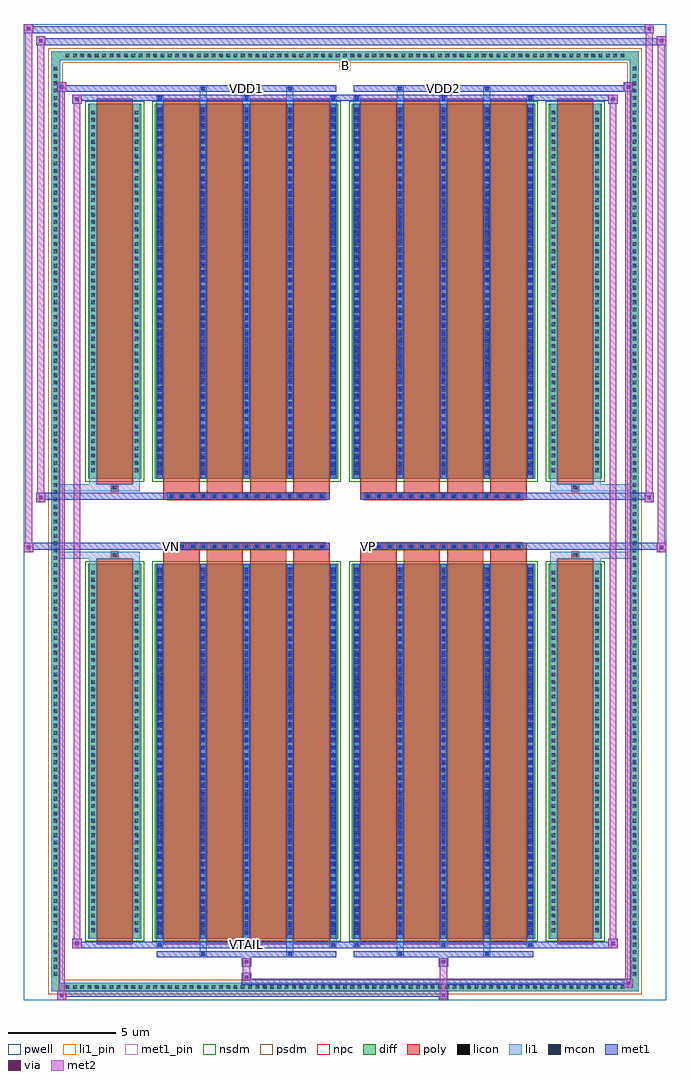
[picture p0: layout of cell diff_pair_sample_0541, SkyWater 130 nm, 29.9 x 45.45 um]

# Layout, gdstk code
import gdstk
lib = gdstk.Library(unit=1e-6, precision=5e-09)
def R(c, l, rs):  # rectangles x0, y0, x1, y1
    for r in rs: c.add(gdstk.rectangle(r[:2], r[2:], *l))
def A(c, l, x, y, w, h, nx, ny, dx, dy):  # array of equal rectangles
    R(c, l, [(x+i*dx, y+j*dy, x+i*dx+w, y+j*dy+h) for i in range(nx) for j in range(ny)])
def P(c, l, *ps):  # polygons
    for p in ps: c.add(gdstk.Polygon(p, *l))
pwell = (64, 44)
diff = (65, 20)
poly = (66, 20)
licon = (66, 44)
li1_pin = (67, 16)
li1 = (67, 20)
mcon = (67, 44)
met1_pin = (68, 16)
met1 = (68, 20)
via = (68, 44)
met2 = (69, 20)
nsdm = (93, 44)
psdm = (94, 20)
npc = (95, 20)

diff_pair_sample_0541 = lib.new_cell('diff_pair_sample_0541')
R(diff_pair_sample_0541, pwell, [(-14.95,-22.29,14.95,23.16), (-12.27,-20.48,-0.01,-0.8), (0.01,-20.48,12.27,-0.8), (-12.27,0.8,-0.01,20.48), (0.01,0.8,12.27,20.48)])
A(diff_pair_sample_0541, diff, -13.125, -21.89, 0.41, 0.41, 77, 2, 0.34, 43.37)
A(diff_pair_sample_0541, diff, -13.68, -21.285, 0.41, 0.41, 1, 125, 0, 0.34)
A(diff_pair_sample_0541, diff, 13.27, -21.285, 0.41, 0.41, 1, 125, 0, 0.34)
R(diff_pair_sample_0541, diff, [(-13.125,-21.89,13.125,-21.48), (-13.68,-21.285,-13.27,21.285), (13.27,-21.285,13.68,21.285), (-11.96,-19.435,-9.49,-1.985), (-8.85,-19.435,-0.32,-1.985), (0.32,-19.435,8.85,-1.985), (9.49,-19.435,11.96,-1.985), (-11.96,1.985,-9.49,19.435), (-8.85,1.985,-0.32,19.435), (0.32,1.985,8.85,19.435), (9.49,1.985,11.96,19.435), (-13.125,21.48,13.125,21.89)])
P(diff_pair_sample_0541, diff, [(13.68,21.89),(-13.68,21.89),(-13.68,-21.48),(-13.27,-21.48),(-13.27,21.48),(13.27,21.48),(13.27,-21.48),(-13.27,-21.48),(-13.68,-21.48),(-13.68,-21.89),(13.68,-21.89)])
A(diff_pair_sample_0541, poly, -8.46, -19.685, 1.69, 17.95, 4, 2, 2.02, 21.42)
A(diff_pair_sample_0541, poly, 0.71, -19.685, 1.69, 17.95, 4, 2, 2.02, 21.42)
A(diff_pair_sample_0541, poly, -8.46, -1.735, 1.69, 0.405, 4, 2, 2.02, 3.065)
A(diff_pair_sample_0541, poly, 0.71, -1.735, 1.69, 0.405, 4, 2, 2.02, 3.065)
A(diff_pair_sample_0541, poly, -8.25, -1.33, 0.33, 0.33, 15, 2, 0.5, 2.33)
A(diff_pair_sample_0541, poly, 0.92, -1.33, 0.33, 0.33, 15, 2, 0.5, 2.33)
R(diff_pair_sample_0541, poly, [(-11.57,-19.685,-9.88,-1.735), (9.88,-19.685,11.57,-1.735), (-10.89,-1.735,-10.56,-1.405), (-10.89,-1.735,-10.56,-1.405), (10.56,-1.735,10.89,-1.405), (10.56,-1.735,10.89,-1.405), (-8.46,-1.33,-0.71,-1), (0.71,-1.33,8.46,-1), (-8.46,1,-0.71,1.33), (0.71,1,8.46,1.33), (-10.89,1.405,-10.56,1.735), (-10.89,1.405,-10.56,1.735), (10.56,1.405,10.89,1.735), (10.56,1.405,10.89,1.735), (-11.57,1.735,-9.88,19.685), (9.88,1.735,11.57,19.685)])
A(diff_pair_sample_0541, licon, -13.005, -21.77, 0.17, 0.17, 77, 2, 0.34, 43.37)
A(diff_pair_sample_0541, licon, -13.56, -21.165, 0.17, 0.17, 1, 125, 0, 0.34)
A(diff_pair_sample_0541, licon, 13.39, -21.165, 0.17, 0.17, 1, 125, 0, 0.34)
A(diff_pair_sample_0541, licon, -11.82, -19.125, 0.17, 0.17, 1, 50, 0, 0.34)
A(diff_pair_sample_0541, licon, -9.8, -19.125, 0.17, 0.17, 1, 50, 0, 0.34)
A(diff_pair_sample_0541, licon, -8.71, -19.125, 0.17, 0.17, 5, 50, 2.02, 0.34)
A(diff_pair_sample_0541, licon, 0.46, -19.125, 0.17, 0.17, 5, 50, 2.02, 0.34)
A(diff_pair_sample_0541, licon, 9.63, -19.125, 0.17, 0.17, 1, 50, 0, 0.34)
A(diff_pair_sample_0541, licon, 11.65, -19.125, 0.17, 0.17, 1, 50, 0, 0.34)
A(diff_pair_sample_0541, licon, -8.17, -1.25, 0.17, 0.17, 15, 2, 0.5, 2.33)
A(diff_pair_sample_0541, licon, 1, -1.25, 0.17, 0.17, 15, 2, 0.5, 2.33)
A(diff_pair_sample_0541, licon, -11.82, 2.295, 0.17, 0.17, 1, 50, 0, 0.34)
A(diff_pair_sample_0541, licon, -9.8, 2.295, 0.17, 0.17, 1, 50, 0, 0.34)
A(diff_pair_sample_0541, licon, -8.71, 2.295, 0.17, 0.17, 5, 50, 2.02, 0.34)
A(diff_pair_sample_0541, licon, 0.46, 2.295, 0.17, 0.17, 5, 50, 2.02, 0.34)
A(diff_pair_sample_0541, licon, 9.63, 2.295, 0.17, 0.17, 1, 50, 0, 0.34)
A(diff_pair_sample_0541, licon, 11.65, 2.295, 0.17, 0.17, 1, 50, 0, 0.34)
R(diff_pair_sample_0541, licon, [(-10.81,-1.655,-10.64,-1.485), (10.64,-1.655,10.81,-1.485), (-10.81,1.485,-10.64,1.655), (10.64,1.485,10.81,1.655)])
R(diff_pair_sample_0541, li1_pin, [(-0.25,20.98,0.25,21.48)])
A(diff_pair_sample_0541, li1, -13.085, -21.85, 0.33, 0.33, 77, 2, 0.34, 43.37)
A(diff_pair_sample_0541, li1, -13.64, -21.245, 0.33, 0.33, 1, 125, 0, 0.34)
A(diff_pair_sample_0541, li1, 13.31, -21.245, 0.33, 0.33, 1, 125, 0, 0.34)
A(diff_pair_sample_0541, li1, -8.79, -19.81, 0.33, 0.375, 3, 2, 4.04, 39.245)
A(diff_pair_sample_0541, li1, -8.71, -19.81, 0.17, 0.17, 3, 2, 4.04, 39.45)
A(diff_pair_sample_0541, li1, 0.38, -19.81, 0.33, 0.375, 3, 2, 4.04, 39.245)
A(diff_pair_sample_0541, li1, 0.46, -19.81, 0.17, 0.17, 3, 2, 4.04, 39.45)
A(diff_pair_sample_0541, li1, -8.79, -19.435, 0.33, 17.45, 5, 2, 2.02, 21.42)
A(diff_pair_sample_0541, li1, 0.38, -19.435, 0.33, 17.45, 5, 2, 2.02, 21.42)
A(diff_pair_sample_0541, li1, -8.71, -19.255, 0.17, 0.17, 5, 48, 2.02, 0.36)
A(diff_pair_sample_0541, li1, -8.71, -19.255, 0.17, 17.09, 5, 2, 2.02, 21.42)
A(diff_pair_sample_0541, li1, 0.46, -19.255, 0.17, 0.17, 5, 48, 2.02, 0.36)
A(diff_pair_sample_0541, li1, 0.46, -19.255, 0.17, 17.09, 5, 2, 2.02, 21.42)
A(diff_pair_sample_0541, li1, -11.9, -19.205, 0.33, 0.33, 1, 50, 0, 0.34)
A(diff_pair_sample_0541, li1, -9.88, -19.205, 0.33, 0.33, 1, 50, 0, 0.34)
A(diff_pair_sample_0541, li1, -8.79, -19.205, 0.33, 0.33, 5, 50, 2.02, 0.34)
A(diff_pair_sample_0541, li1, 0.38, -19.205, 0.33, 0.33, 5, 50, 2.02, 0.34)
A(diff_pair_sample_0541, li1, 9.55, -19.205, 0.33, 0.33, 1, 50, 0, 0.34)
A(diff_pair_sample_0541, li1, 11.57, -19.205, 0.33, 0.33, 1, 50, 0, 0.34)
A(diff_pair_sample_0541, li1, -8.25, -1.33, 0.33, 0.33, 15, 2, 0.5, 2.33)
A(diff_pair_sample_0541, li1, 0.92, -1.33, 0.33, 0.33, 15, 2, 0.5, 2.33)
A(diff_pair_sample_0541, li1, -8.71, 2.165, 0.17, 0.17, 5, 48, 2.02, 0.36)
A(diff_pair_sample_0541, li1, 0.46, 2.165, 0.17, 0.17, 5, 48, 2.02, 0.36)
A(diff_pair_sample_0541, li1, -11.9, 2.215, 0.33, 0.33, 1, 50, 0, 0.34)
A(diff_pair_sample_0541, li1, -9.88, 2.215, 0.33, 0.33, 1, 50, 0, 0.34)
A(diff_pair_sample_0541, li1, -8.79, 2.215, 0.33, 0.33, 5, 50, 2.02, 0.34)
A(diff_pair_sample_0541, li1, 0.38, 2.215, 0.33, 0.33, 5, 50, 2.02, 0.34)
A(diff_pair_sample_0541, li1, 9.55, 2.215, 0.33, 0.33, 1, 50, 0, 0.34)
A(diff_pair_sample_0541, li1, 11.57, 2.215, 0.33, 0.33, 1, 50, 0, 0.34)
R(diff_pair_sample_0541, li1, [(-13.68,-21.89,-13.27,-21.48), (-13.68,-21.89,-13.27,-21.48), (-13.27,-21.89,13.27,-21.48), (13.27,-21.89,13.68,-21.48), (13.27,-21.89,13.68,-21.48), (-13.68,-21.48,-13.27,21.48), (13.27,-21.48,13.68,21.48), (-6.77,-20.24,-6.44,-19.435), (-6.69,-20.24,-6.52,-20.07), (-2.73,-20.24,-2.4,-19.435), (-2.65,-20.24,-2.48,-20.07), (2.4,-20.24,2.73,-19.435), (2.48,-20.24,2.65,-20.07), (6.44,-20.24,6.77,-19.435), (6.52,-20.24,6.69,-20.07), (-11.9,-19.435,-11.57,-1.985), (-9.88,-19.435,-9.55,-1.985), (9.55,-19.435,9.88,-1.985), (11.57,-19.435,11.9,-1.985), (-11.9,-1.985,-11.57,-1.405), (-9.88,-1.985,-9.55,-1.405), (9.55,-1.985,9.88,-1.405), (11.57,-1.985,11.9,-1.405), (-13.68,-1.735,-10.89,-1.405), (-11.9,-1.735,-10.89,-1.405), (-10.89,-1.735,-10.56,-1.405), (-10.56,-1.735,-9.55,-1.405), (9.55,-1.735,10.56,-1.405), (10.56,-1.735,10.89,-1.405), (10.56,-1.735,13.68,-1.405), (10.89,-1.735,11.9,-1.405), (-13.68,1.405,-10.89,1.735), (-11.9,1.405,-10.89,1.735), (-11.9,1.405,-11.57,1.985), (-10.89,1.405,-10.56,1.735), (-10.56,1.405,-9.55,1.735), (-9.88,1.405,-9.55,1.985), (9.55,1.405,10.56,1.735), (9.55,1.405,9.88,1.985), (10.56,1.405,10.89,1.735), (10.56,1.405,13.68,1.735), (10.89,1.405,11.9,1.735), (11.57,1.405,11.9,1.985), (-11.9,1.985,-11.57,19.435), (-9.88,1.985,-9.55,19.435), (9.55,1.985,9.88,19.435), (11.57,1.985,11.9,19.435), (-6.77,19.435,-6.44,20.24), (-2.73,19.435,-2.4,20.24), (2.4,19.435,2.73,20.24), (6.44,19.435,6.77,20.24), (-6.69,20.07,-6.52,20.24), (-2.65,20.07,-2.48,20.24), (2.48,20.07,2.65,20.24), (6.52,20.07,6.69,20.24), (-13.68,21.48,-13.27,21.89), (-13.68,21.48,-13.27,21.89), (-13.27,21.48,13.27,21.89), (13.27,21.48,13.68,21.89), (13.27,21.48,13.68,21.89)])
A(diff_pair_sample_0541, mcon, -8.71, -19.81, 0.17, 0.17, 3, 2, 4.04, 39.45)
A(diff_pair_sample_0541, mcon, 0.46, -19.81, 0.17, 0.17, 3, 2, 4.04, 39.45)
A(diff_pair_sample_0541, mcon, -8.71, -19.255, 0.17, 0.17, 5, 48, 2.02, 0.36)
A(diff_pair_sample_0541, mcon, 0.46, -19.255, 0.17, 0.17, 5, 48, 2.02, 0.36)
A(diff_pair_sample_0541, mcon, -8.17, -1.25, 0.17, 0.17, 15, 2, 0.5, 2.33)
A(diff_pair_sample_0541, mcon, 1, -1.25, 0.17, 0.17, 15, 2, 0.5, 2.33)
A(diff_pair_sample_0541, mcon, -8.71, 2.165, 0.17, 0.17, 5, 48, 2.02, 0.36)
A(diff_pair_sample_0541, mcon, 0.46, 2.165, 0.17, 0.17, 5, 48, 2.02, 0.36)
R(diff_pair_sample_0541, mcon, [(-6.69,-20.24,-6.52,-20.07), (-2.65,-20.24,-2.48,-20.07), (2.48,-20.24,2.65,-20.07), (6.52,-20.24,6.69,-20.07), (-6.69,20.07,-6.52,20.24), (-2.65,20.07,-2.48,20.24), (2.48,20.07,2.65,20.24), (6.52,20.07,6.69,20.24)])
R(diff_pair_sample_0541, met1_pin, [(-4.72,-19.85,-4.45,-19.58), (-8.22,-1.29,-7.95,-1.02), (0.95,-1.29,1.22,-1.02), (-4.72,20.03,-4.45,20.3), (4.45,20.03,4.72,20.3)])
A(diff_pair_sample_0541, met1, -8.77, -19.87, 0.29, 0.29, 3, 2, 4.04, 39.45)
A(diff_pair_sample_0541, met1, 0.4, -19.87, 0.29, 0.29, 3, 2, 4.04, 39.45)
A(diff_pair_sample_0541, met1, -8.77, -19.435, 0.29, 17.45, 5, 2, 2.02, 21.42)
A(diff_pair_sample_0541, met1, 0.4, -19.435, 0.29, 17.45, 5, 2, 2.02, 21.42)
A(diff_pair_sample_0541, met1, -8.77, -19.315, 0.29, 0.29, 5, 48, 2.02, 0.36)
A(diff_pair_sample_0541, met1, 0.4, -19.315, 0.29, 0.29, 5, 48, 2.02, 0.36)
A(diff_pair_sample_0541, met1, -8.23, -1.31, 0.29, 0.29, 15, 2, 0.5, 2.33)
A(diff_pair_sample_0541, met1, 0.94, -1.31, 0.29, 0.29, 15, 2, 0.5, 2.33)
A(diff_pair_sample_0541, met1, -8.77, 2.105, 0.29, 0.29, 5, 48, 2.02, 0.36)
A(diff_pair_sample_0541, met1, 0.4, 2.105, 0.29, 0.29, 5, 48, 2.02, 0.36)
R(diff_pair_sample_0541, met1, [(-13.41,-22.29,-12.98,-21.86), (4.37,-22.29,4.8,-21.86), (-13.41,-22.15,4.8,-21.86), (12.98,-21.72,13.41,-21.29), (-4.8,-21.58,13.41,-21.29), (-4.8,-21.44,-4.37,-21.01), (-4.8,-20.73,-4.37,-20.3), (4.37,-20.73,4.8,-20.3), (-8.77,-20.3,-0.4,-20.01), (-6.75,-20.3,-6.46,-20.01), (-2.71,-20.3,-2.42,-20.01), (0.4,-20.3,8.77,-20.01), (2.42,-20.3,2.71,-20.01), (6.46,-20.3,6.75,-20.01), (-12.7,-19.87,-12.27,-19.44), (-12.7,-19.87,-8.77,-19.58), (-8.77,-19.87,-0.4,-19.58), (-0.4,-19.87,0.4,-19.58), (0.4,-19.87,8.77,-19.58), (8.77,-19.87,12.7,-19.58), (12.27,-19.87,12.7,-19.44), (-14.95,-1.43,-14.52,-1), (14.52,-1.43,14.95,-1), (-14.95,-1.33,-0.71,-1), (-8.46,-1.33,-0.71,-1), (0.71,-1.33,8.46,-1), (0.71,-1.33,14.95,-1), (-14.38,0.9,-13.95,1.33), (13.95,0.9,14.38,1.33), (-14.38,1,-8.46,1.33), (-8.46,1,-0.71,1.33), (0.71,1,8.46,1.33), (8.46,1,14.38,1.33), (-12.7,19.44,-12.27,19.87), (12.27,19.44,12.7,19.87), (-12.7,19.58,-8.77,19.87), (-8.77,19.58,-0.4,19.87), (-0.4,19.58,0.4,19.87), (0.4,19.58,8.77,19.87), (8.77,19.58,12.7,19.87), (-13.41,20.01,-12.98,20.44), (-13.41,20.01,-8.77,20.3), (-8.77,20.01,-0.4,20.3), (-6.75,20.01,-6.46,20.3), (-2.71,20.01,-2.42,20.3), (0.4,20.01,8.77,20.3), (2.42,20.01,2.71,20.3), (6.46,20.01,6.75,20.3), (8.77,20.01,13.41,20.3), (12.98,20.01,13.41,20.44), (-14.38,22.16,-13.95,22.59), (-14.38,22.16,-12.27,22.49), (-12.27,22.16,12.27,22.49), (12.27,22.16,14.95,22.49), (14.52,22.16,14.95,22.59), (-14.95,22.73,-14.52,23.16), (-14.95,22.73,-12.27,23.06), (-12.27,22.73,12.27,23.06), (12.27,22.73,14.38,23.06), (13.95,22.73,14.38,23.16)])
R(diff_pair_sample_0541, via, [(-13.27,-22.15,-13.12,-22), (4.51,-22.15,4.66,-22), (13.12,-21.58,13.27,-21.43), (-4.66,-21.3,-4.51,-21.15), (-4.66,-20.59,-4.51,-20.44), (4.51,-20.59,4.66,-20.44), (-12.56,-19.73,-12.41,-19.58), (12.41,-19.73,12.56,-19.58), (-14.81,-1.29,-14.66,-1.14), (14.66,-1.29,14.81,-1.14), (-14.24,1.04,-14.09,1.19), (14.09,1.04,14.24,1.19), (-12.56,19.58,-12.41,19.73), (12.41,19.58,12.56,19.73), (-13.27,20.15,-13.12,20.3), (13.12,20.15,13.27,20.3), (-14.24,22.3,-14.09,22.45), (14.66,22.3,14.81,22.45), (-14.81,22.87,-14.66,23.02), (14.09,22.87,14.24,23.02)])
R(diff_pair_sample_0541, met2, [(-13.41,-22.29,-12.98,-21.86), (-13.34,-22.29,-13.05,20.44), (-13.05,-22.29,-12.98,-21.86), (-13.36,-22.24,-13.03,-21.91), (4.42,-22.24,4.75,-21.91), (4.42,-21.91,4.75,-20.68), (12.98,-21.72,13.41,-21.29), (13.05,-21.72,13.34,20.44), (13.34,-21.72,13.41,-21.29), (13.03,-21.67,13.36,-21.34), (-4.75,-21.39,-4.42,-21.06), (-4.75,-21.06,-4.42,-20.68), (-4.75,-20.68,-4.42,-20.35), (4.42,-20.68,4.75,-20.35), (-12.7,-19.87,-12.27,-19.44), (-12.63,-19.87,-12.34,19.87), (-12.34,-19.87,-12.27,-19.44), (12.27,-19.87,12.7,-19.44), (12.34,-19.87,12.63,19.87), (12.63,-19.87,12.7,-19.44), (-12.65,-19.82,-12.32,-19.49), (12.32,-19.82,12.65,-19.49), (-14.95,-1.43,-14.52,-1), (-14.9,-1.43,-14.57,23.16), (-14.57,-1.43,-14.52,-1), (14.52,-1.43,14.95,-1), (14.57,-1.43,14.9,22.59), (14.9,-1.43,14.95,-1), (-14.9,-1.38,-14.57,-1.05), (14.57,-1.38,14.9,-1.05), (-14.38,0.9,-13.95,1.33), (-14.33,0.9,-14,22.59), (-14,0.9,-13.95,1.33), (13.95,0.9,14.38,1.33), (14,0.9,14.33,23.16), (14.33,0.9,14.38,1.33), (-14.33,0.95,-14,1.28), (14,0.95,14.33,1.28), (-12.7,19.44,-12.27,19.87), (-12.34,19.44,-12.27,19.87), (12.27,19.44,12.7,19.87), (12.63,19.44,12.7,19.87), (-12.65,19.49,-12.32,19.82), (12.32,19.49,12.65,19.82), (-13.41,20.01,-12.98,20.44), (-13.05,20.01,-12.98,20.44), (12.98,20.01,13.41,20.44), (13.34,20.01,13.41,20.44), (-13.36,20.06,-13.03,20.39), (13.03,20.06,13.36,20.39), (-14.38,22.16,-13.95,22.59), (-14,22.16,-13.95,22.59), (14.52,22.16,14.95,22.59), (14.9,22.16,14.95,22.59), (-14.33,22.21,-14,22.54), (14.57,22.21,14.9,22.54), (-14.95,22.73,-14.52,23.16), (-14.57,22.73,-14.52,23.16), (13.95,22.73,14.38,23.16), (14.33,22.73,14.38,23.16), (-14.9,22.78,-14.57,23.11), (14,22.78,14.33,23.11)])
R(diff_pair_sample_0541, nsdm, [(-12.09,-19.565,-9.36,-1.855), (-8.98,-19.565,-0.19,-1.855), (0.19,-19.565,8.98,-1.855), (9.36,-19.565,12.09,-1.855), (-12.09,1.855,-9.36,19.565), (-8.98,1.855,-0.19,19.565), (0.19,1.855,8.98,19.565), (9.36,1.855,12.09,19.565)])
P(diff_pair_sample_0541, psdm, [(13.81,22.02),(-13.81,22.02),(-13.81,-21.35),(-13.14,-21.35),(-13.14,21.35),(13.14,21.35),(13.14,-21.35),(-13.14,-21.35),(-13.81,-21.35),(-13.81,-22.02),(13.81,-22.02)])
A(diff_pair_sample_0541, npc, -8.27, -1.35, 0.37, 0.37, 15, 2, 0.5, 2.33)
A(diff_pair_sample_0541, npc, 0.9, -1.35, 0.37, 0.37, 15, 2, 0.5, 2.33)
R(diff_pair_sample_0541, npc, [(-10.91,-1.755,-10.54,-1.385), (10.54,-1.755,10.91,-1.385), (-8.27,-1.35,-7.4,-0.98), (-8.27,-1.35,-7.4,-0.98), (-7.77,-1.35,-6.9,-0.98), (-7.77,-1.35,-6.9,-0.98), (-7.27,-1.35,-6.4,-0.98), (-7.27,-1.35,-6.4,-0.98), (-6.77,-1.35,-5.9,-0.98), (-6.77,-1.35,-5.9,-0.98), (-6.27,-1.35,-5.4,-0.98), (-6.27,-1.35,-5.4,-0.98), (-5.77,-1.35,-4.9,-0.98), (-5.77,-1.35,-4.9,-0.98), (-5.27,-1.35,-4.4,-0.98), (-5.27,-1.35,-4.4,-0.98), (-4.77,-1.35,-3.9,-0.98), (-4.77,-1.35,-3.9,-0.98), (-4.27,-1.35,-3.4,-0.98), (-4.27,-1.35,-3.4,-0.98), (-3.77,-1.35,-2.9,-0.98), (-3.77,-1.35,-2.9,-0.98), (-3.27,-1.35,-2.4,-0.98), (-3.27,-1.35,-2.4,-0.98), (-2.77,-1.35,-1.9,-0.98), (-2.77,-1.35,-1.9,-0.98), (-2.27,-1.35,-1.4,-0.98), (-2.27,-1.35,-1.4,-0.98), (-1.77,-1.35,-0.9,-0.98), (-1.77,-1.35,-0.9,-0.98), (0.9,-1.35,1.77,-0.98), (0.9,-1.35,1.77,-0.98), (1.4,-1.35,2.27,-0.98), (1.4,-1.35,2.27,-0.98), (1.9,-1.35,2.77,-0.98), (1.9,-1.35,2.77,-0.98), (2.4,-1.35,3.27,-0.98), (2.4,-1.35,3.27,-0.98), (2.9,-1.35,3.77,-0.98), (2.9,-1.35,3.77,-0.98), (3.4,-1.35,4.27,-0.98), (3.4,-1.35,4.27,-0.98), (3.9,-1.35,4.77,-0.98), (3.9,-1.35,4.77,-0.98), (4.4,-1.35,5.27,-0.98), (4.4,-1.35,5.27,-0.98), (4.9,-1.35,5.77,-0.98), (4.9,-1.35,5.77,-0.98), (5.4,-1.35,6.27,-0.98), (5.4,-1.35,6.27,-0.98), (5.9,-1.35,6.77,-0.98), (5.9,-1.35,6.77,-0.98), (6.4,-1.35,7.27,-0.98), (6.4,-1.35,7.27,-0.98), (6.9,-1.35,7.77,-0.98), (6.9,-1.35,7.77,-0.98), (7.4,-1.35,8.27,-0.98), (7.4,-1.35,8.27,-0.98), (-8.27,0.98,-7.4,1.35), (-8.27,0.98,-7.4,1.35), (-7.77,0.98,-6.9,1.35), (-7.77,0.98,-6.9,1.35), (-7.27,0.98,-6.4,1.35), (-7.27,0.98,-6.4,1.35), (-6.77,0.98,-5.9,1.35), (-6.77,0.98,-5.9,1.35), (-6.27,0.98,-5.4,1.35), (-6.27,0.98,-5.4,1.35), (-5.77,0.98,-4.9,1.35), (-5.77,0.98,-4.9,1.35), (-5.27,0.98,-4.4,1.35), (-5.27,0.98,-4.4,1.35), (-4.77,0.98,-3.9,1.35), (-4.77,0.98,-3.9,1.35), (-4.27,0.98,-3.4,1.35), (-4.27,0.98,-3.4,1.35), (-3.77,0.98,-2.9,1.35), (-3.77,0.98,-2.9,1.35), (-3.27,0.98,-2.4,1.35), (-3.27,0.98,-2.4,1.35), (-2.77,0.98,-1.9,1.35), (-2.77,0.98,-1.9,1.35), (-2.27,0.98,-1.4,1.35), (-2.27,0.98,-1.4,1.35), (-1.77,0.98,-0.9,1.35), (-1.77,0.98,-0.9,1.35), (0.9,0.98,1.77,1.35), (0.9,0.98,1.77,1.35), (1.4,0.98,2.27,1.35), (1.4,0.98,2.27,1.35), (1.9,0.98,2.77,1.35), (1.9,0.98,2.77,1.35), (2.4,0.98,3.27,1.35), (2.4,0.98,3.27,1.35), (2.9,0.98,3.77,1.35), (2.9,0.98,3.77,1.35), (3.4,0.98,4.27,1.35), (3.4,0.98,4.27,1.35), (3.9,0.98,4.77,1.35), (3.9,0.98,4.77,1.35), (4.4,0.98,5.27,1.35), (4.4,0.98,5.27,1.35), (4.9,0.98,5.77,1.35), (4.9,0.98,5.77,1.35), (5.4,0.98,6.27,1.35), (5.4,0.98,6.27,1.35), (5.9,0.98,6.77,1.35), (5.9,0.98,6.77,1.35), (6.4,0.98,7.27,1.35), (6.4,0.98,7.27,1.35), (6.9,0.98,7.77,1.35), (6.9,0.98,7.77,1.35), (7.4,0.98,8.27,1.35), (7.4,0.98,8.27,1.35), (-10.91,1.385,-10.54,1.755), (10.54,1.385,10.91,1.755)])
diff_pair_sample_0541.add(gdstk.Label('VTAIL', (-4.585,-19.715), layer=68, texttype=5))
diff_pair_sample_0541.add(gdstk.Label('VN', (-8.085,-1.155), layer=68, texttype=5))
diff_pair_sample_0541.add(gdstk.Label('VP', (1.085,-1.155), layer=68, texttype=5))
diff_pair_sample_0541.add(gdstk.Label('B', (0,21.23), layer=67, texttype=5))
diff_pair_sample_0541.add(gdstk.Label('VDD2', (4.585,20.165), layer=68, texttype=5))
diff_pair_sample_0541.add(gdstk.Label('VDD1', (-4.585,20.165), layer=68, texttype=5))

lib.write_gds('diff_pair_sample_0541.gds')
